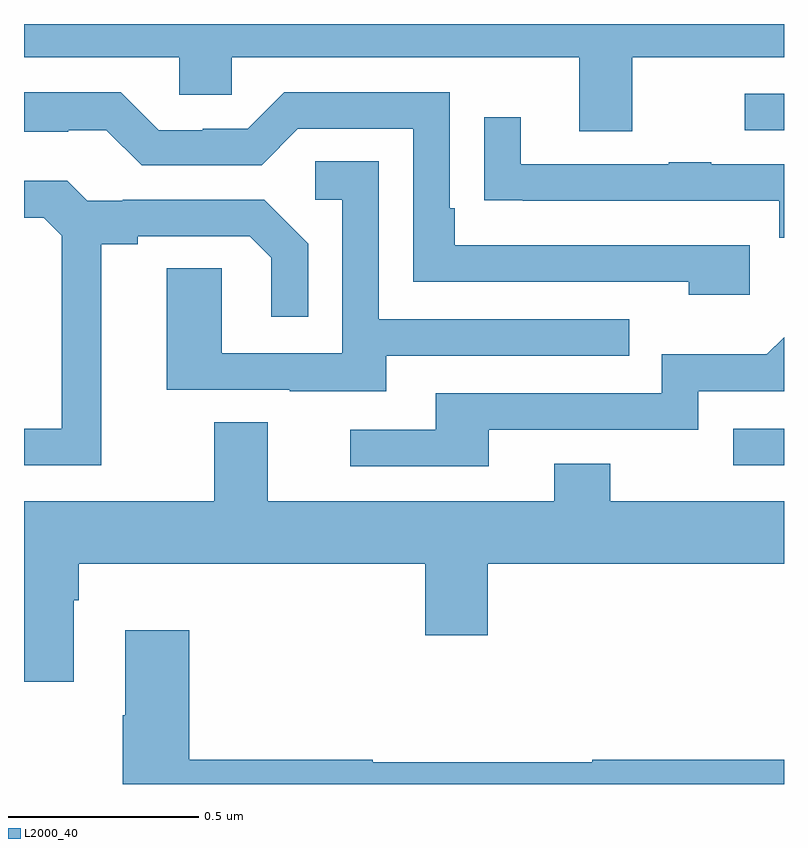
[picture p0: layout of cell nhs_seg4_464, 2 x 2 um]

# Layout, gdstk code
import gdstk
lib = gdstk.Library(unit=1e-6, precision=1e-09)
def R(c, l, rs):  # rectangles x0, y0, x1, y1
    for r in rs: c.add(gdstk.rectangle(r[:2], r[2:], *l))
def P(c, l, *ps):  # polygons
    for p in ps: c.add(gdstk.Polygon(p, *l))
L2000_40 = (2000, 40)

nhs_seg4_464 = lib.new_cell('nhs_seg4_464')
R(nhs_seg4_464, L2000_40, [(117.867,803.739,118,803.835), (117.897,804.621,118,804.717)])
P(nhs_seg4_464, L2000_40, [(117.601,804.812),(118,804.812),(118,804.9),(116,804.9),(116,804.812),(116.409,804.812),(116.409,804.714),(116.547,804.714),(116.547,804.812),(117.461,804.812),(117.461,804.618),(117.601,804.618)],
  [(117.91,804.318),(117.133,804.318),(117.133,804.415),(117.12,804.415),(117.12,804.72),(116.685,804.72),(116.589,804.624),(116.471,804.624),(116.471,804.621),(116.355,804.621),(116.255,804.721),(116,804.721),(116,804.617),(116.117,804.617),(116.117,804.621),(116.217,804.621),(116.31,804.528),(116.625,804.528),(116.721,804.624),(117.024,804.624),(117.024,804.222),(117.749,804.222),(117.749,804.188),(117.91,804.188)],
  [(118,804.531),(117.809,804.531),(117.809,804.536),(117.697,804.536),(117.697,804.531),(117.307,804.531),(117.307,804.655),(117.211,804.655),(117.211,804.436),(117.313,804.436),(117.313,804.435),(117.988,804.435),(117.988,804.338),(118,804.338)],
  [(116.953,804.027),(117.593,804.027),(117.593,804.123),(116.934,804.123),(116.934,804.539),(116.766,804.539),(116.766,804.438),(116.838,804.438),(116.838,804.033),(116.52,804.033),(116.52,804.257),(116.375,804.257),(116.375,803.937),(116.699,803.937),(116.699,803.933),(116.953,803.933)],
  [(116.203,804.32),(116.299,804.32),(116.299,804.342),(116.594,804.342),(116.651,804.285),(116.651,804.129),(116.748,804.129),(116.748,804.322),(116.632,804.438),(116.26,804.438),(116.26,804.435),(116.166,804.435),(116.114,804.487),(116,804.487),(116,804.39),(116.052,804.39),(116.099,804.343),(116.099,803.835),(116,803.835),(116,803.739),(116.203,803.739)],
  [(117.223,803.832),(117.774,803.832),(117.774,803.934),(118,803.934),(118,804.076),(117.955,804.031),(117.678,804.031),(117.678,803.928),(117.083,803.928),(117.083,803.832),(116.859,803.832),(116.859,803.736),(117.223,803.736)],
  [(116.131,803.384),(116.144,803.384),(116.144,803.48),(117.056,803.48),(117.056,803.292),(117.22,803.292),(117.22,803.48),(118,803.48),(118,803.644),(117.543,803.644),(117.543,803.743),(117.395,803.743),(117.395,803.644),(116.641,803.644),(116.641,803.852),(116.501,803.852),(116.501,803.644),(116,803.644),(116,803.169),(116.131,803.169)],
  [(118,802.964),(117.495,802.964),(117.495,802.957),(116.918,802.957),(116.918,802.964),(116.435,802.964),(116.435,803.305),(116.267,803.305),(116.267,803.081),(116.26,803.081),(116.26,802.9),(118,802.9)])

lib.write_gds('nhs_seg4_464.gds')
